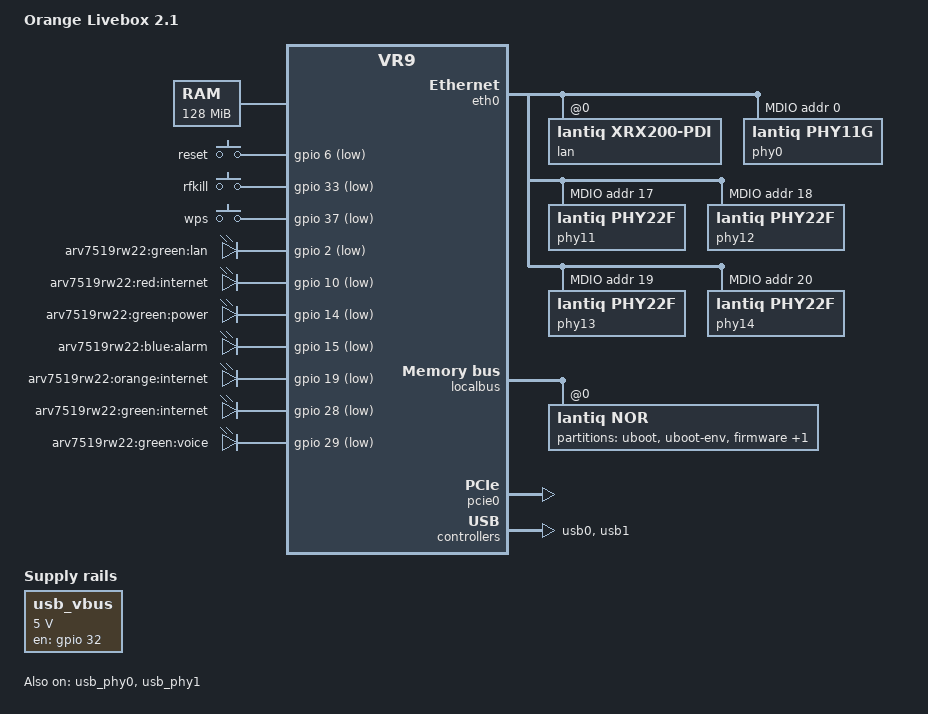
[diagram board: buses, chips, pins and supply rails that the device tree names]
/dts-v1/;

#include "vr9.dtsi"

#include <dt-bindings/input/input.h>
#include <dt-bindings/mips/lantiq_rcu_gphy.h>

/ {
	compatible = "arcadyan,arv7519rw22", "lantiq,xway", "lantiq,vr9";
	model = "Orange Livebox 2.1";

	chosen {
		bootargs = "console=ttyLTQ0,115200";
	};

	aliases {
		led-boot = &power_green;
		led-failsafe = &power_green;
		led-running = &power_green;

		led-dsl = &internet_green;
	};

	memory@0 {
		reg = <0x0 0x8000000>;
	};

	gpio-keys-polled {
		compatible = "gpio-keys-polled";
		#address-cells = <1>;
		#size-cells = <0>;
		poll-interval = <100>;

		reset {
			label = "reset";
			gpios = <&gpio 6 GPIO_ACTIVE_LOW>;
			linux,code = <KEY_RESTART>;
		};
		rfkill {
			label = "rfkill";
			gpios = <&gpio 33 GPIO_ACTIVE_LOW>;
			linux,code = <KEY_RFKILL>;
		};
		wps {
			label = "wps";
			gpios = <&gpio 37 GPIO_ACTIVE_LOW>;
			linux,code = <KEY_WPS_BUTTON>;
		};
	};

	gpio-leds {
		compatible = "gpio-leds";

		lan_green {
			label = "arv7519rw22:green:lan";
			gpios = <&gpio 2 GPIO_ACTIVE_LOW>;
		};
		internet_red {
			label = "arv7519rw22:red:internet";
			gpios = <&gpio 10 GPIO_ACTIVE_LOW>;
		};
		power_green: power_green {
			label = "arv7519rw22:green:power";
			gpios = <&gpio 14 GPIO_ACTIVE_LOW>;
			default-state = "keep";
		};
		alarm_blue {
			label = "arv7519rw22:blue:alarm";
			gpios = <&gpio 15 GPIO_ACTIVE_LOW>;
		};
		internet_orange {
			label = "arv7519rw22:orange:internet";
			gpios = <&gpio 19 GPIO_ACTIVE_LOW>;
		};
		internet_green: internet_green {
			label = "arv7519rw22:green:internet";
			gpios = <&gpio 28 GPIO_ACTIVE_LOW>;
		};
		voice_green {
			label = "arv7519rw22:green:voice";
			gpios = <&gpio 29 GPIO_ACTIVE_LOW>;
		};
	};

	usb_vbus: regulator-usb-vbus {
		compatible = "regulator-fixed";

		regulator-name = "USB_VBUS";

		regulator-min-microvolt = <5000000>;
		regulator-max-microvolt = <5000000>;

		gpio = <&gpio 32 GPIO_ACTIVE_HIGH>;
		enable-active-high;
	};
};

&eth0 {
	lan: interface@0 {
		compatible = "lantiq,xrx200-pdi";
		#address-cells = <1>;
		#size-cells = <0>;
		reg = <0>;
		mtd-mac-address = <&boardconfig 0x16>;
		lantiq,switch;

		ethernet@0 {
			compatible = "lantiq,xrx200-pdi-port";
			reg = <0>;
			phy-mode = "rgmii";
			phy-handle = <&phy0>;
		};
		ethernet@1 {
			compatible = "lantiq,xrx200-pdi-port";
			reg = <4>;
			phy-mode = "mii";
			phy-handle = <&phy13>;
		};
		ethernet@2 {
			compatible = "lantiq,xrx200-pdi-port";
			reg = <5>;
			phy-mode = "mii";
			phy-handle = <&phy14>;
		};
		ethernet@3 {
			compatible = "lantiq,xrx200-pdi-port";
			reg = <2>;
			phy-mode = "mii";
			phy-handle = <&phy11>;
		};
		ethernet@4 {
			compatible = "lantiq,xrx200-pdi-port";
			reg = <3>;
			phy-mode = "mii";
			phy-handle = <&phy12>;
		};
	};

	mdio@0 {
		#address-cells = <1>;
		#size-cells = <0>;
		compatible = "lantiq,xrx200-mdio";
		reg = <0>;

		phy0: ethernet-phy@0 {
			reg = <0x0>;
			compatible = "lantiq,phy11g", "ethernet-phy-ieee802.3-c22";
		};
		phy11: ethernet-phy@11 {
			reg = <0x11>;
			compatible = "lantiq,phy22f", "ethernet-phy-ieee802.3-c22";
		};
		phy12: ethernet-phy@12 {
			reg = <0x12>;
			compatible = "lantiq,phy22f", "ethernet-phy-ieee802.3-c22";
		};
		phy13: ethernet-phy@13 {
			reg = <0x13>;
			compatible = "lantiq,phy22f", "ethernet-phy-ieee802.3-c22";
		};
		phy14: ethernet-phy@14 {
			reg = <0x14>;
			compatible = "lantiq,phy22f", "ethernet-phy-ieee802.3-c22";
		};
	};
};

&gphy0 {
	lantiq,gphy-mode = <GPHY_MODE_FE>;
};

&gphy1 {
	lantiq,gphy-mode = <GPHY_MODE_FE>;
};

&gpio {
	pinctrl-names = "default";
	pinctrl-0 = <&state_default>;

	state_default: pinmux {
		mdio {
			lantiq,groups = "mdio";
			lantiq,function = "mdio";
		};
		pcie-rst {
			lantiq,pins = "io21";
			lantiq,pull = <0>;
			lantiq,output = <1>;
		};
	};
};

&localbus {
	nor@0 {
		compatible = "lantiq,nor";
		bank-width = <2>;
		reg = <0 0x0 0x2000000>;
		#address-cells = <1>;
		#size-cells = <1>;

		partitions {
			compatible = "fixed-partitions";
			#address-cells = <1>;
			#size-cells = <1>;

			partition@0 {
				label = "uboot";
				reg = <0x0 0x60000>;
				read-only;
			};

			partition@60000 {
				label = "uboot-env";
				reg = <0x60000 0x20000>;
				read-only;
			};

			partition@80000 {
				label = "firmware";
				reg = <0x80000 0x1f00000>;
			};

			boardconfig: partition@1f80000 {
				label = "boardconfig";
				reg = <0x1f80000 0x80000>;
				read-only;
			};
		};
	};
};

&pcie0 {
	status = "okay";
	gpio-reset = <&gpio 21 GPIO_ACTIVE_HIGH>;
};

&usb_phy0 {
	status = "okay";
	phy-supply = <&usb_vbus>;
};

&usb_phy1 {
	status = "okay";
	phy-supply = <&usb_vbus>;
};

&usb0 {
	status = "okay";
};

&usb1 {
	status = "okay";
};
